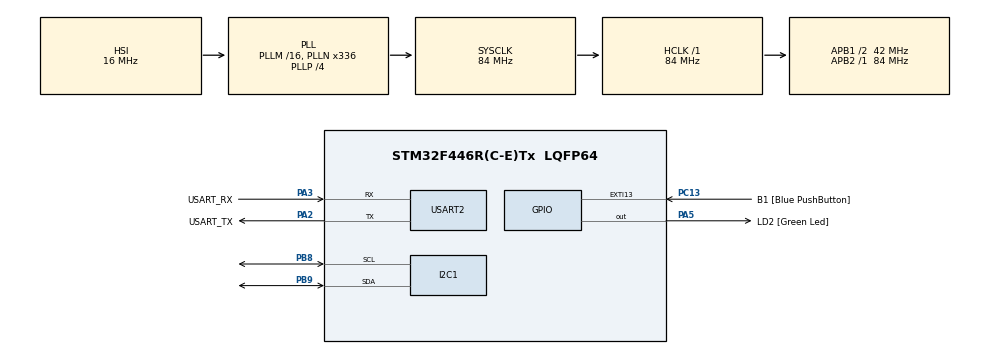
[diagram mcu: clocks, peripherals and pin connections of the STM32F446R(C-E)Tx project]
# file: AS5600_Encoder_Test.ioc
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Mcu.Family=STM32F4
Mcu.Name=STM32F446R(C-E)Tx
Mcu.Package=LQFP64
NVIC.PriorityGroup=NVIC_PRIORITYGROUP_0
PA13.GPIO_Label=TMS
PA13.Mode=Serial_Wire
PA13.Signal=SYS_JTMS-SWDIO
PA14.GPIO_Label=TCK
PA14.Mode=Serial_Wire
PA14.Signal=SYS_JTCK-SWCLK
PA2.GPIO_Label=USART_TX
PA2.Mode=Asynchronous
PA2.Signal=USART2_TX
PA3.GPIO_Label=USART_RX
PA3.Mode=Asynchronous
PA3.Signal=USART2_RX
PA5.GPIO_Label=LD2 [Green Led]
PA5.Signal=GPIO_Output
PB3.GPIO_Label=SWO
PB3.Signal=SYS_JTDO-SWO
PB8.Mode=I2C
PB8.Signal=I2C1_SCL
PB9.Mode=I2C
PB9.Signal=I2C1_SDA
PC13.GPIO_Label=B1 [Blue PushButton]
PC13.GPIO_ModeDefaultEXTI=GPIO_MODE_IT_FALLING
PC13.Signal=GPXTI13
PC14-OSC32_IN.Signal=RCC_OSC32_IN
PC15-OSC32_OUT.Signal=RCC_OSC32_OUT
PH0-OSC_IN.Signal=RCC_OSC_IN
PH1-OSC_OUT.Signal=RCC_OSC_OUT
ProjectManager.HeapSize=0x200
ProjectManager.StackSize=0x400
ProjectManager.TargetToolchain=STM32CubeIDE
RCC.AHBFreq_Value=84000000
RCC.APB1CLKDivider=RCC_HCLK_DIV2
RCC.APB1Freq_Value=42000000
RCC.APB1TimFreq_Value=84000000
RCC.APB2Freq_Value=84000000
RCC.APB2TimFreq_Value=84000000
RCC.CortexFreq_Value=84000000
RCC.FLatency-AdvancedSettings=FLASH_LATENCY_2
RCC.HCLKFreq_Value=84000000
RCC.HSE_VALUE=8000000
RCC.HSI_VALUE=16000000
RCC.LSE_VALUE=32768
RCC.PLLN=336
RCC.PLLP=RCC_PLLP_DIV4
RCC.SYSCLKFreq_VALUE=84000000
RCC.SYSCLKSource=RCC_SYSCLKSOURCE_PLLCLK
RCC.USBFreq_Value=168000000
RCC.VCOOutputFreq_Value=336000000
USART2.VirtualMode=VM_ASYNC
board=NUCLEO-F446RE

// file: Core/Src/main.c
/* USER CODE BEGIN Header */
/**
  ******************************************************************************
  * @file           : main.c
  * @brief          : Main program body
  ******************************************************************************
  * @attention
  *
  * Copyright (c) 2026 STMicroelectronics.
  * All rights reserved.
  *
  * This software is licensed under terms that can be found in the LICENSE file
  * in the root directory of this software component.
  * If no LICENSE file comes with this software, it is provided AS-IS.
  *
  ******************************************************************************
  */
/* USER CODE END Header */
#include "main.h"

/* USER CODE BEGIN Includes */
#include <stdio.h>
/* USER CODE END Includes */

I2C_HandleTypeDef hi2c1;

UART_HandleTypeDef huart2;

/* USER CODE BEGIN PV */
#define AS5600_ADDR       (0x36 << 1)
#define AS5600_ANGLE_REG  0x0C

uint8_t as5600_rx[2];
uint16_t raw_angle;
float angle_deg;
char uart_buf[80];
int uart_len;
HAL_StatusTypeDef i2c_status;

/* USER CODE END PV */

void SystemClock_Config(void);
static void MX_GPIO_Init(void);
static void MX_I2C1_Init(void);
static void MX_USART2_UART_Init(void);

int main(void)
{

  /* MCU Configuration--------------------------------------------------------*/

  /* Reset of all peripherals, Initializes the Flash interface and the Systick. */
  HAL_Init();

  /* Configure the system clock */
  SystemClock_Config();

  /* Initialize all configured peripherals */
  MX_GPIO_Init();
  MX_I2C1_Init();
  MX_USART2_UART_Init();

  /* Infinite loop */
  while (1)
  {

    /* USER CODE BEGIN 3 */
	    i2c_status = HAL_I2C_Mem_Read(
	        &hi2c1,
	        AS5600_ADDR,
	        AS5600_ANGLE_REG,
	        I2C_MEMADD_SIZE_8BIT,
	        as5600_rx,
	        2,
	        100
	    );

	    if (i2c_status == HAL_OK)
	    {
	        raw_angle = ((uint16_t)as5600_rx[0] << 8)
	                    | as5600_rx[1];

	        raw_angle &= 0x0FFF;
	        angle_deg = raw_angle * 360.0f / 4096.0f;

	        uart_len = snprintf(
	            uart_buf, sizeof(uart_buf),
	            "RAW: %u, ANGLE: %.2f deg\r\n",
	            raw_angle, angle_deg
	        );
	    }
	    else
	    {
	        uart_len = snprintf(
	            uart_buf, sizeof(uart_buf),
	            "I2C ERROR: %d\r\n",
	            i2c_status
	        );
	    }

	    HAL_UART_Transmit(
	        &huart2,
	        (uint8_t *)uart_buf,
	        uart_len,
	        100
	    );

	    HAL_Delay(200);
  }
  /* USER CODE END 3 */
}

void SystemClock_Config(void)
{
  RCC_OscInitTypeDef RCC_OscInitStruct = {0};
  RCC_ClkInitTypeDef RCC_ClkInitStruct = {0};

  /** Configure the main internal regulator output voltage
  */
  __HAL_RCC_PWR_CLK_ENABLE();
  __HAL_PWR_VOLTAGESCALING_CONFIG(PWR_REGULATOR_VOLTAGE_SCALE3);

  /** Initializes the RCC Oscillators according to the specified parameters
  * in the RCC_OscInitTypeDef structure.
  */
  RCC_OscInitStruct.OscillatorType = RCC_OSCILLATORTYPE_HSI;
  RCC_OscInitStruct.HSIState = RCC_HSI_ON;
  RCC_OscInitStruct.HSICalibrationValue = RCC_HSICALIBRATION_DEFAULT;
  RCC_OscInitStruct.PLL.PLLState = RCC_PLL_ON;
  RCC_OscInitStruct.PLL.PLLSource = RCC_PLLSOURCE_HSI;
  RCC_OscInitStruct.PLL.PLLM = 16;
  RCC_OscInitStruct.PLL.PLLN = 336;
  RCC_OscInitStruct.PLL.PLLP = RCC_PLLP_DIV4;
  RCC_OscInitStruct.PLL.PLLQ = 2;
  RCC_OscInitStruct.PLL.PLLR = 2;
  if (HAL_RCC_OscConfig(&RCC_OscInitStruct) != HAL_OK)
  {
    Error_Handler();
  }

  /** Initializes the CPU, AHB and APB buses clocks
  */
  RCC_ClkInitStruct.ClockType = RCC_CLOCKTYPE_HCLK|RCC_CLOCKTYPE_SYSCLK
                              |RCC_CLOCKTYPE_PCLK1|RCC_CLOCKTYPE_PCLK2;
  RCC_ClkInitStruct.SYSCLKSource = RCC_SYSCLKSOURCE_PLLCLK;
  RCC_ClkInitStruct.AHBCLKDivider = RCC_SYSCLK_DIV1;
  RCC_ClkInitStruct.APB1CLKDivider = RCC_HCLK_DIV2;
  RCC_ClkInitStruct.APB2CLKDivider = RCC_HCLK_DIV1;

  if (HAL_RCC_ClockConfig(&RCC_ClkInitStruct, FLASH_LATENCY_2) != HAL_OK)
  {
    Error_Handler();
  }
}

static void MX_I2C1_Init(void)
{

  hi2c1.Instance = I2C1;
  hi2c1.Init.ClockSpeed = 100000;
  hi2c1.Init.DutyCycle = I2C_DUTYCYCLE_2;
  hi2c1.Init.OwnAddress1 = 0;
  hi2c1.Init.AddressingMode = I2C_ADDRESSINGMODE_7BIT;
  hi2c1.Init.DualAddressMode = I2C_DUALADDRESS_DISABLE;
  hi2c1.Init.OwnAddress2 = 0;
  hi2c1.Init.GeneralCallMode = I2C_GENERALCALL_DISABLE;
  hi2c1.Init.NoStretchMode = I2C_NOSTRETCH_DISABLE;
  if (HAL_I2C_Init(&hi2c1) != HAL_OK)
  {
    Error_Handler();
  }

}

static void MX_USART2_UART_Init(void)
{

  huart2.Instance = USART2;
  huart2.Init.BaudRate = 115200;
  huart2.Init.WordLength = UART_WORDLENGTH_8B;
  huart2.Init.StopBits = UART_STOPBITS_1;
  huart2.Init.Parity = UART_PARITY_NONE;
  huart2.Init.Mode = UART_MODE_TX_RX;
  huart2.Init.HwFlowCtl = UART_HWCONTROL_NONE;
  huart2.Init.OverSampling = UART_OVERSAMPLING_16;
  if (HAL_UART_Init(&huart2) != HAL_OK)
  {
    Error_Handler();
  }

}

static void MX_GPIO_Init(void)
{
  GPIO_InitTypeDef GPIO_InitStruct = {0};

  /* GPIO Ports Clock Enable */
  __HAL_RCC_GPIOC_CLK_ENABLE();
  __HAL_RCC_GPIOH_CLK_ENABLE();
  __HAL_RCC_GPIOA_CLK_ENABLE();
  __HAL_RCC_GPIOB_CLK_ENABLE();

  /*Configure GPIO pin Output Level */
  HAL_GPIO_WritePin(LD2_GPIO_Port, LD2_Pin, GPIO_PIN_RESET);

  /*Configure GPIO pin : B1_Pin */
  GPIO_InitStruct.Pin = B1_Pin;
  GPIO_InitStruct.Mode = GPIO_MODE_IT_FALLING;
  GPIO_InitStruct.Pull = GPIO_NOPULL;
  HAL_GPIO_Init(B1_GPIO_Port, &GPIO_InitStruct);

  /*Configure GPIO pin : LD2_Pin */
  GPIO_InitStruct.Pin = LD2_Pin;
  GPIO_InitStruct.Mode = GPIO_MODE_OUTPUT_PP;
  GPIO_InitStruct.Pull = GPIO_NOPULL;
  GPIO_InitStruct.Speed = GPIO_SPEED_FREQ_LOW;
  HAL_GPIO_Init(LD2_GPIO_Port, &GPIO_InitStruct);

}

void Error_Handler(void)
{
  __disable_irq();
  while (1)
  {
  }
}
